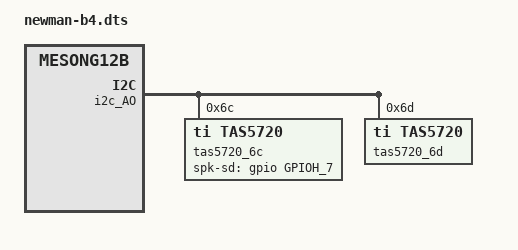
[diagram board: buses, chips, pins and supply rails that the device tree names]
/*
 * arch/arm64/boot/dts/amlogic/newman-b4.dts
 *
 * Copyright (C) 2017 Amlogic, Inc. All rights reserved.
 *
 * This program is free software; you can redistribute it and/or modify
 * it under the terms of the GNU General Public License as published by
 * the Free Software Foundation; either version 2 of the License, or
 * (at your option) any later version.
 *
 * This program is distributed in the hope that it will be useful, but WITHOUT
 * ANY WARRANTY; without even the implied warranty of MERCHANTABILITY or
 * FITNESS FOR A PARTICULAR PURPOSE.  See the GNU General Public License for
 * more details.
 *
 */

/dts-v1/;

#include "mesong12b.dtsi"
#include "newman-panel.dtsi"
#include "mesong12a_drm.dtsi"
#include "newman-common.dtsi"
#include "newman-bx-partition.dtsi"

&cpu_opp_table1 {
	opp10 {
		opp-hz = /bits/ 64 <1908000000>;
		opp-microvolt = <1022000>;
	};
};

&i2c_AO {
	accel: bma456@18 {
		status = "disable";
	};
};

&aml_tdmc {
	pinctrl-0 = <&tdmout_c>;
};

&tdmccodec {
	prefix-names = "woofer", "tweeter-left", "tweeter-right";
	sound-dai = <&tas5720_6f &tas5720_6c &tas5720_6d>;
};

&i2c_AO {
	tas5720_6c: tas5720@6c {
		compatible = "ti,tas5720";
		#sound-dai-cells = <0>;
		reg = <0x6c>;
		status = "okay";
		spk-sd = <&gpio GPIOH_7 GPIO_ACTIVE_HIGH>;
	};
	tas5720_6d: tas5720@6d {
		compatible = "ti,tas5720";
		#sound-dai-cells = <0>;
		reg = <0x6d>;
		status = "okay";
	};
};

/delete-node/ &tas5760_6c;
/delete-node/ &temp_basedb;
/delete-node/ &temp_mlb;
/delete-node/ &temp_lmic;
/delete-node/ &temp_wifi;
/delete-node/ &temp_audio;
/delete-node/ &temp_soc;
/delete-node/ &temp_humidity;
